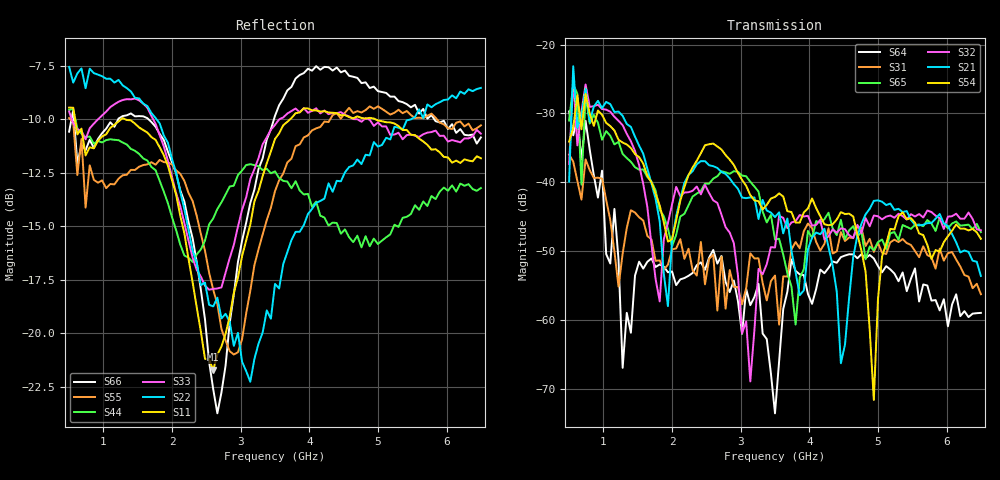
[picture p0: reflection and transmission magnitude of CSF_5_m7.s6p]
!Keysight Technologies,M9804A,MY58100912,A.14.10.03
!Date: Thursday, April 27, 2023 10:28:33
!Correction: S11(C  6-Port  )
!S12(C  6-Port  )
!S13(C  6-Port  )
!S14(C  6-Port  )
!S15(C  6-Port  )
!S16(C  6-Port  )
!S21(C  6-Port  )
!S22(C  6-Port  )
!S23(C  6-Port  )
!S24(C  6-Port  )
!S25(C  6-Port  )
!S26(C  6-Port  )
!S31(C  6-Port  )
!S32(C  6-Port  )
!S33(C  6-Port  )
!S34(C  6-Port  )
!S35(C  6-Port  )
!S36(C  6-Port  )
!S41(C  6-Port  )
!S42(C  6-Port  )
!S43(C  6-Port  )
!S44(C  6-Port  )
!S45(C  6-Port  )
!S46(C  6-Port  )
!S51(C  6-Port  )
!S52(C  6-Port  )
!S53(C  6-Port  )
!S54(C  6-Port  )
!S55(C  6-Port  )
!S56(C  6-Port  )
!S61(C  6-Port  )
!S62(C  6-Port  )
!S63(C  6-Port  )
!S64(C  6-Port  )
!S65(C  6-Port  )
!S66(C  6-Port  )
!S6P File: Measurement: :
# Hz S  RI  R 50
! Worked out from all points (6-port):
!   101 points, 500 MHz to 6.5 GHz, reference 50 ohm
!   strongest paths, dB at 500 MHz, 2 GHz, 3.5 GHz, 5 GHz, 6.5 GHz:
!     S54: -34.1, -48.3, -42.1, -57.1, -48.2
!     S21: -39.9, -48.4, -45.1, -42.6, -53.6
!     S32: -37.4, -43.2, -49.5, -44.9, -47.0
!     S65: -31.0, -49.3, -48.3, -48.7, -47.3
!     S31: -36.0, -49.8, -53.6, -48.8, -56.3
!     S64: -29.7, -53.0, -73.6, -52.2, -59.0
!   lowest |S11| = -21.7 dB at 2.6 GHz (marker M1), VSWR 1.18, Z = 42.7 + j1.97 ohm
!   |S11| at or under -10 dB: 586.2 MHz to 1.257 GHz (670.6 MHz wide, 72.8 % of centre); 1.321 GHz to 3.719 GHz (2.398 GHz wide, 95.1 % of centre); 4.967 GHz to end of sweep
